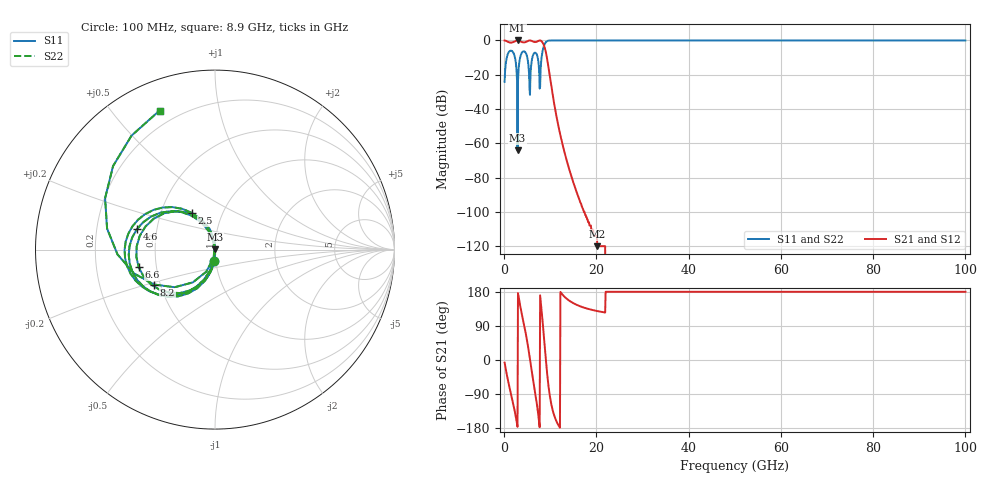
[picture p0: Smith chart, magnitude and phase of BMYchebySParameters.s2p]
# MHz MA S R 50.0
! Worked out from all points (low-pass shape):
!   1000 points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, 100 MHz to 100 GHz, reference 50 ohm
!   highest |S21| = 0.00 dB at 2.9 GHz (marker M1); lowest = -120.0 dB at 20.2 GHz (marker M2)
!   |S21| within 3 dB of the highest: start of sweep to 8.649 GHz
!   lowest |S11| = -64.2 dB at 2.9 GHz (marker M3), VSWR 1.00, Z = 50 + j0.0619 ohm
!   |S11| at or under -10 dB: 2.341 GHz to 3.467 GHz (1.126 GHz wide, 38.8 % of centre); 5.02 GHz to 6.114 GHz (1.094 GHz wide, 19.6 % of centre); 7.271 GHz to 8.111 GHz (840.4 MHz wide, 10.9 % of centre)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
!   |S22| runs from -64.2 to 0.0 dB; largest |S21 - S12| = 0
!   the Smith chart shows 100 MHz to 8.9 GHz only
!   S11 on the Smith chart (normalised r, x): 100 MHz: 0.98, -0.12; 2.5 GHz: 0.72, +0.31; 4.6 GHz: 0.38, +0.11; 6.6 GHz: 0.40, -0.10; 8.2 GHz: 0.46, -0.21; 8.9 GHz: 0.13, +0.67
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100  0.06252 -97.0  0.998 -7.0  0.998 -7.0  0.06252 -97.0
1400  0.5033 -174.6  0.8641 -84.6  0.8641 -84.6  0.5033 -174.6
2500  0.2401 122.0  0.9707 -148.0  0.9707 -148.0  0.2401 122.0
2900  0.00062 93.7  1 -176.3  1 -176.3  0.00062 93.7
3800  0.4292 -147.1  0.9032 122.9  0.9032 122.9  0.4292 -147.1
4600  0.45 165.4  0.893 75.4  0.893 75.4  0.45 165.4
5600  0.02575 -88.2  0.9997 1.8  0.9997 1.8  0.02575 -88.2
6600  0.436 -167.0  0.8999 -77.0  0.8999 -77.0  0.436 -167.0
7500  0.1891 114.9  0.982 -155.1  0.982 -155.1  0.1891 114.9
8200  0.3912 -150.2  0.9203 119.8  0.9203 119.8  0.3912 -150.2
8900  0.834 111.7  0.5518 21.7  0.5518 21.7  0.834 111.7
9400  0.9684 44.5  0.2494 -45.5  0.2494 -45.5  0.9684 44.5
10000  0.9973 -12.0  0.07311 -102.0  0.07311 -102.0  0.9973 -12.0
11300  1 -70.7  0.006546 -160.7  0.006546 -160.7  1 -70.7
14200  1 -114.1  0.000159 155.9  0.000159 155.9  1 -114.1
16800  1 -129.7  1.5e-05 140.3  1.5e-05 140.3  1 -129.7
20200  1 -140.9  1e-06 129.1  1e-06 129.1  1 -140.9
33400  1 -158.3  0 180.0  0 180.0  1 -158.3
50100  1 -165.9  0 180.0  0 180.0  1 -165.9
66700  1 -169.5  0 180.0  0 180.0  1 -169.5
83400  1 -171.6  0 180.0  0 180.0  1 -171.6
100000  1 -173.0  0 180.0  0 180.0  1 -173.0
